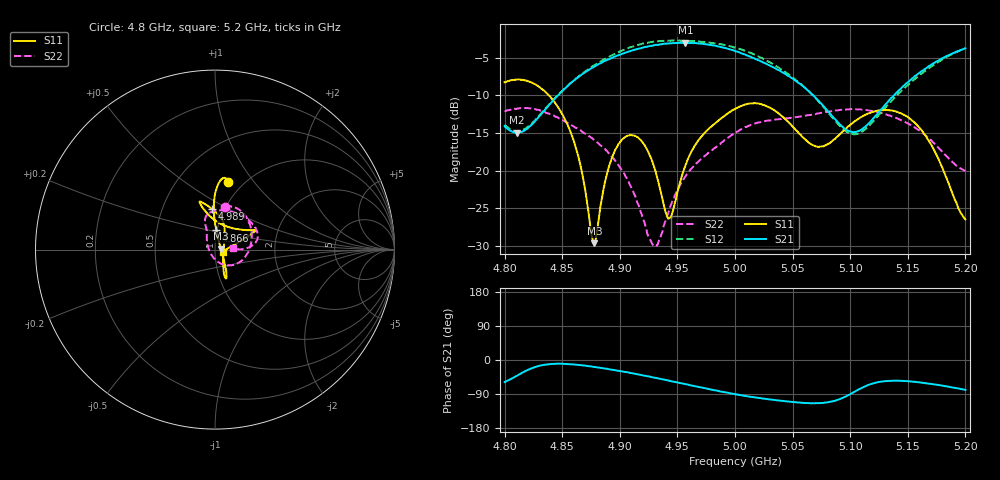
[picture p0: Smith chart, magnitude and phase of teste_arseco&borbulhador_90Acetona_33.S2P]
! Network Analyzer HP8722D
! Hewlett-Packard
! Data name: Linha & Wilkinson
! Saver's name: Rodrigo Anjos
! Comments: Teste da utilização de aquisição
! continua pelo VNA HP8722D
! Time and date: 17/4/2025 11:19
!  Frequency  S11  S21  S12  S22
# HZ  S  MA R 50
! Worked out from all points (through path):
!   401 points, 4.8 GHz to 5.2 GHz, reference 50 ohm
!   highest |S21| = -3.01 dB at 4.957 GHz (marker M1); lowest = -15.0 dB at 4.811 GHz (marker M2)
!   lowest |S11| = -29.7 dB at 4.878 GHz (marker M3), VSWR 1.07, Z = 53.4 + j0.508 ohm
!   |S11| at or under -10 dB: 4.838 GHz to end of sweep
!   |S22| runs from -30.0 to -11.7 dB; largest |S21 - S12| = 1.4
!   S11 on the Smith chart (normalised r, x): 4.8 GHz: 0.85, +0.76; 4.866 GHz: 0.99, +0.21; 4.989 GHz: 0.88, +0.42; 5.2 GHz: 1.09, -0.03
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4.8e9  0.386 78.8  0.1974 -58.2  0.2016 76.7  0.2461 76.5
4.811e9  0.4033 82.1  0.1783 -41.0  0.1828 92.5  0.2586 67.3
4.844e9  0.2803 90.9  0.3033 -10.0  0.3042 122.9  0.2282 27.9
4.857e9  0.1827 91.3  0.3792 -11.0  0.3796 123.8  0.2019 8.8
4.866e9  0.1073 85.6  0.4291 -13.6  0.4329 122.7  0.1853 -4.9
4.867e9  0.09842 84.6  0.4356 -14.0  0.4375 122.7  0.1821 -6.5
4.878e9  0.0328 8.3  0.492 -18.6  0.5016 120.2  0.1597 -23.4
4.89e9  0.1028 -57.5  0.5478 -24.1  0.5667 116.4  0.1316 -40.6
4.904e9  0.1656 -67.2  0.6035 -31.1  0.6357 110.4  0.09536 -60.7
4.92e9  0.1528 -70.1  0.6554 -40.5  0.6999 101.7  0.04763 -97.5
4.928e9  0.1164 -66.3  0.6757 -45.1  0.7157 96.9  0.03264 -139.2
4.934e9  0.08107 -56.2  0.6862 -48.9  0.7246 93.1  0.03425 178.5
4.943e9  0.04826 -2.0  0.7002 -54.8  0.7299 87.1  0.05555 140.8
4.957e9  0.1083 60.0  0.7068 -63.6  0.7271 78.3  0.09156 120.0
4.989e9  0.2254 93.7  0.6586 -83.7  0.6873 57.7  0.1546 110.8
5e9  0.2571 101.9  0.6227 -90.3  0.6581 50.6  0.1784 108.3
5.029e9  0.2648 107.8  0.5039 -103.5  0.5296 35.0  0.2149 91.8
5.067e9  0.1483 79.5  0.321 -114.0  0.3204 26.7  0.2349 58.0
5.102e9  0.2065 31.6  0.1806 -86.7  0.1745 57.3  0.2557 27.1
5.134e9  0.2515 25.1  0.2936 -55.0  0.2802 91.2  0.2323 10.7
5.164e9  0.1762 20.6  0.4686 -60.5  0.4526 87.5  0.1754 2.3
5.2e9  0.04741 -17.1  0.6483 -78.9  0.6508 70.1  0.09935 4.9
